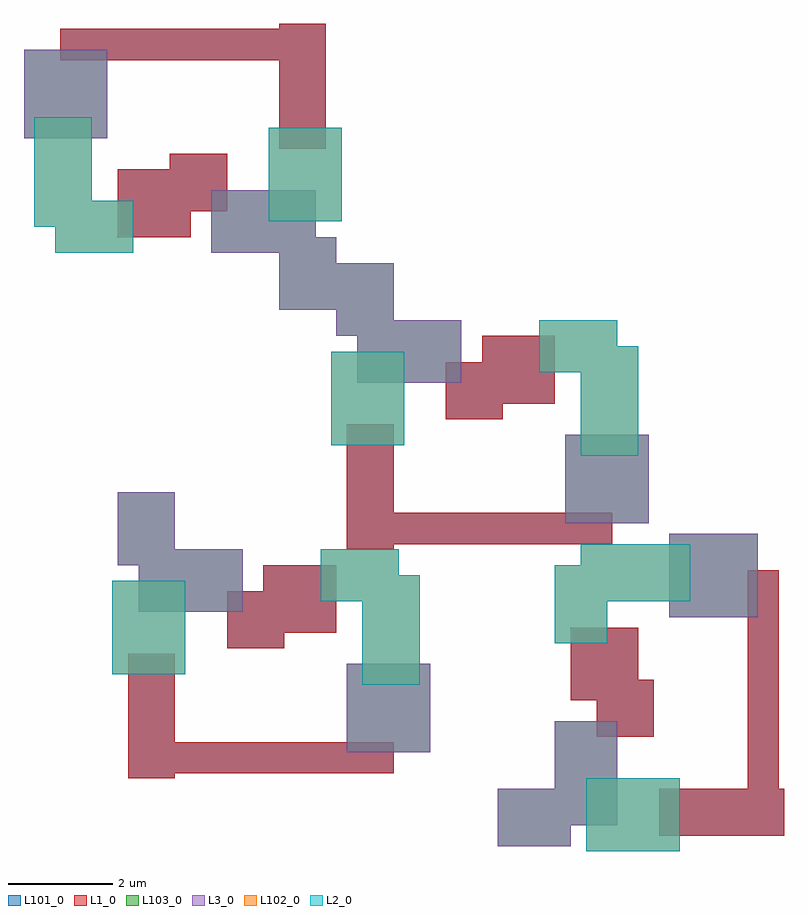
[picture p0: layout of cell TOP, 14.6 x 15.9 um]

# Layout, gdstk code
from math import pi, radians
import gdstk
lib = gdstk.Library(unit=1e-6, precision=1e-09)
def R(c, l, rs):  # rectangles x0, y0, x1, y1
    for r in rs: c.add(gdstk.rectangle(r[:2], r[2:], *l))
L1_0 = (1, 0)
L2_0 = (2, 0)
L3_0 = (3, 0)
L101_0 = (101, 0)
L102_0 = (102, 0)
L103_0 = (103, 0)

c_c1 = lib.new_cell('C1')
R(c_c1, L1_0, [(-2.7,-3.3,-1.8,-0.9), (-2.1,-3.2,2.4,-2.6), (-0.8,-0.8,0.3,0.3), (-0.1,-0.5,1.3,0.8)])
R(c_c1, L2_0, [(1.8,-1.5,2.9,0.6), (-3,-1.3,-1.6,0.5), (1,0.1,2.5,1.1)])
R(c_c1, L3_0, [(1.5,-2.8,3.1,-1.1), (-2.5,-0.1,-0.5,1.1), (-2.9,0.8,-1.8,2.2)])

top = lib.new_cell('TOP')
R(top, L101_0, [(3,-8.5,5.4,-7.6), (4.7,-7.9,5.3,-3.4), (-7.2,-7.4,-6.3,-5), (-6.6,-7.3,-2.1,-6.7), (1.8,-6.6,2.9,-5.5), (1.3,-5.9,2.6,-4.5), (-5.3,-4.9,-4.2,-3.8), (-4.6,-4.6,-3.2,-3.3), (-3,-3,-2.1,-0.6), (-2.4,-2.9,2.1,-2.3), (-1.1,-0.5,0,0.6), (-0.4,-0.2,1,1.1), (-7.4,3,-6,4.3), (-6.4,3.5,-5.3,4.6), (-4.3,4.7,-3.4,7.1), (-8.5,6.4,-4,7)])
R(top, L102_0, [(1.6,-8.8,3.4,-7.4), (-2.7,-5.6,-1.6,-3.5), (-7.5,-5.4,-6.1,-3.6), (1,-4.8,2,-3.3), (-3.5,-4,-2,-3), (1.5,-4,3.6,-2.9), (1.5,-1.2,2.6,0.9), (-3.3,-1,-1.9,0.8), (0.7,0.4,2.2,1.4), (-8.6,2.7,-7.1,3.7), (-9,3.2,-7.9,5.3), (-4.5,3.3,-3.1,5.1)])
R(top, L103_0, [(-0.1,-8.7,1.3,-7.6), (1,-8.3,2.2,-6.3), (-3,-6.9,-1.4,-5.2), (3.2,-4.3,4.9,-2.7), (-7,-4.2,-5,-3), (-7.4,-3.3,-6.3,-1.9), (1.2,-2.5,2.8,-0.8), (-2.8,0.2,-0.8,1.4), (-3.2,1.1,-2.1,2.5), (-4.3,1.6,-3.2,3), (-5.6,2.7,-3.6,3.9), (-9.2,4.9,-7.6,6.6)])
top.add(gdstk.Reference(c_c1, (-0.3,0.3)))
top.add(gdstk.Reference(c_c1, (-6.1,3.8), rotation=pi))
top.add(gdstk.Reference(c_c1, (2.1,-5.8), rotation=pi/2))
top.add(gdstk.Reference(c_c1, (-4.5,-4.1)))

lib.write_gds('TOP.gds')
